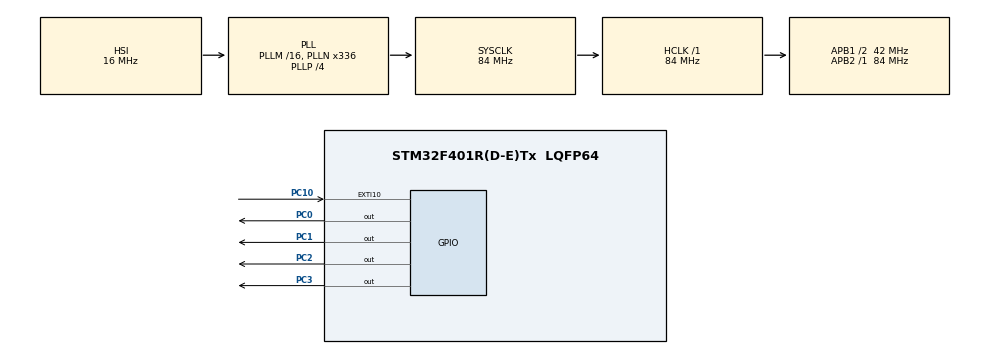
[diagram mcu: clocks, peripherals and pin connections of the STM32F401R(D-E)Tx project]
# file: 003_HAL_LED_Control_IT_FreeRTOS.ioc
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FREERTOS.Tasks01=Led,2,128,LedControlTask,Default,NULL,Dynamic,NULL,NULL
Mcu.Family=STM32F4
Mcu.Name=STM32F401R(D-E)Tx
Mcu.Package=LQFP64
NVIC.EXTI15_10_IRQn=true\:5\:0\:false\:false\:true\:true\:true\:true\:true
NVIC.PriorityGroup=NVIC_PRIORITYGROUP_4
PC0.GPIO_Speed=GPIO_SPEED_FREQ_HIGH
PC0.Signal=GPIO_Output
PC1.GPIO_Speed=GPIO_SPEED_FREQ_HIGH
PC1.Signal=GPIO_Output
PC10.GPIO_PuPd=GPIO_PULLDOWN
PC10.Signal=GPXTI10
PC2.GPIO_Speed=GPIO_SPEED_FREQ_HIGH
PC2.Signal=GPIO_Output
PC3.GPIO_Speed=GPIO_SPEED_FREQ_HIGH
PC3.Signal=GPIO_Output
ProjectManager.HeapSize=0x200
ProjectManager.StackSize=0x400
ProjectManager.TargetToolchain=STM32CubeIDE
RCC.AHBFreq_Value=84000000
RCC.APB1CLKDivider=RCC_HCLK_DIV2
RCC.APB1Freq_Value=42000000
RCC.APB1TimFreq_Value=84000000
RCC.APB2Freq_Value=84000000
RCC.APB2TimFreq_Value=84000000
RCC.CortexFreq_Value=84000000
RCC.HCLKFreq_Value=84000000
RCC.HSE_VALUE=8000000
RCC.HSI_VALUE=16000000
RCC.LSE_VALUE=32768
RCC.PLLN=336
RCC.PLLP=RCC_PLLP_DIV4
RCC.PLLQ=7
RCC.SYSCLKFreq_VALUE=84000000
RCC.SYSCLKSource=RCC_SYSCLKSOURCE_PLLCLK
RCC.VCOOutputFreq_Value=336000000
VP_FREERTOS_VS_CMSIS_V1.Mode=CMSIS_V1
board=NUCLEO-F401RE

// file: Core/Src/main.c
/* USER CODE BEGIN Header */
/**
  ******************************************************************************
  * @file           : main.c
  * @brief          : Main program body
  ******************************************************************************
  * @attention
  *
  * Copyright (c) 2023 STMicroelectronics.
  * All rights reserved.
  *
  * This software is licensed under terms that can be found in the LICENSE file
  * in the root directory of this software component.
  * If no LICENSE file comes with this software, it is provided AS-IS.
  *
  ******************************************************************************
  */
/* USER CODE END Header */
#include "main.h"

/* USER CODE BEGIN Includes */
#include "FreeRTOS.h"
#include "task.h"
/* USER CODE END Includes */

TaskHandle_t LedHandle;

void SystemClock_Config(void);
static void MX_GPIO_Init(void);
void LedControlTask(void *params);

/* USER CODE BEGIN 0 */
uint8_t count = 0;
/* USER CODE END 0 */

int main(void)
{

  /* MCU Configuration--------------------------------------------------------*/

  /* Reset of all peripherals, Initializes the Flash interface and the Systick. */
  HAL_Init();

  /* Configure the system clock */
  SystemClock_Config();

  /* Initialize all configured peripherals */
  MX_GPIO_Init();

  /* Create the thread(s) */
  /* definition and creation of Led */
  xTaskCreate(LedControlTask,"Led",configMINIMAL_STACK_SIZE,NULL,2,&LedHandle);

  /* Start scheduler */
  vTaskStartScheduler();
  /* We should never get here as control is now taken by the scheduler */
  /* Infinite loop */
  while (1)
  {

  }
}

void SystemClock_Config(void)
{
  RCC_OscInitTypeDef RCC_OscInitStruct = {0};
  RCC_ClkInitTypeDef RCC_ClkInitStruct = {0};

  /** Configure the main internal regulator output voltage
  */
  __HAL_RCC_PWR_CLK_ENABLE();
  __HAL_PWR_VOLTAGESCALING_CONFIG(PWR_REGULATOR_VOLTAGE_SCALE2);

  /** Initializes the RCC Oscillators according to the specified parameters
  * in the RCC_OscInitTypeDef structure.
  */
  RCC_OscInitStruct.OscillatorType = RCC_OSCILLATORTYPE_HSI;
  RCC_OscInitStruct.HSIState = RCC_HSI_ON;
  RCC_OscInitStruct.HSICalibrationValue = RCC_HSICALIBRATION_DEFAULT;
  RCC_OscInitStruct.PLL.PLLState = RCC_PLL_ON;
  RCC_OscInitStruct.PLL.PLLSource = RCC_PLLSOURCE_HSI;
  RCC_OscInitStruct.PLL.PLLM = 16;
  RCC_OscInitStruct.PLL.PLLN = 336;
  RCC_OscInitStruct.PLL.PLLP = RCC_PLLP_DIV4;
  RCC_OscInitStruct.PLL.PLLQ = 7;
  if (HAL_RCC_OscConfig(&RCC_OscInitStruct) != HAL_OK)
  {
    Error_Handler();
  }

  /** Initializes the CPU, AHB and APB buses clocks
  */
  RCC_ClkInitStruct.ClockType = RCC_CLOCKTYPE_HCLK|RCC_CLOCKTYPE_SYSCLK
                              |RCC_CLOCKTYPE_PCLK1|RCC_CLOCKTYPE_PCLK2;
  RCC_ClkInitStruct.SYSCLKSource = RCC_SYSCLKSOURCE_PLLCLK;
  RCC_ClkInitStruct.AHBCLKDivider = RCC_SYSCLK_DIV1;
  RCC_ClkInitStruct.APB1CLKDivider = RCC_HCLK_DIV2;
  RCC_ClkInitStruct.APB2CLKDivider = RCC_HCLK_DIV1;

  if (HAL_RCC_ClockConfig(&RCC_ClkInitStruct, FLASH_LATENCY_2) != HAL_OK)
  {
    Error_Handler();
  }
}

static void MX_GPIO_Init(void)
{
  GPIO_InitTypeDef GPIO_InitStruct = {0};

  /* GPIO Ports Clock Enable */
  __HAL_RCC_GPIOC_CLK_ENABLE();

  /*Configure GPIO pin Output Level */
  HAL_GPIO_WritePin(GPIOC, GPIO_PIN_0|GPIO_PIN_1|GPIO_PIN_2|GPIO_PIN_3, GPIO_PIN_RESET);

  /*Configure GPIO pins : PC0 PC1 PC2 PC3 */
  GPIO_InitStruct.Pin = GPIO_PIN_0|GPIO_PIN_1|GPIO_PIN_2|GPIO_PIN_3;
  GPIO_InitStruct.Mode = GPIO_MODE_OUTPUT_PP;
  GPIO_InitStruct.Pull = GPIO_NOPULL;
  GPIO_InitStruct.Speed = GPIO_SPEED_FREQ_HIGH;
  HAL_GPIO_Init(GPIOC, &GPIO_InitStruct);

  /*Configure GPIO pin : PC10 */
  GPIO_InitStruct.Pin = GPIO_PIN_10;
  GPIO_InitStruct.Mode = GPIO_MODE_IT_RISING;
  GPIO_InitStruct.Pull = GPIO_PULLDOWN;
  HAL_GPIO_Init(GPIOC, &GPIO_InitStruct);

  /* EXTI interrupt init*/
  HAL_NVIC_SetPriority(EXTI15_10_IRQn, 5, 0);
  HAL_NVIC_EnableIRQ(EXTI15_10_IRQn);

}

void LedControlTask(void *params)
{
  /* USER CODE BEGIN 5 */
  /* Infinite loop */
  for(;;)
  {
	    if(count == 0)
	    {
	    	 HAL_GPIO_WritePin(GPIOC,GPIO_PIN_0|GPIO_PIN_1|GPIO_PIN_2|GPIO_PIN_3,GPIO_PIN_RESET);
	    }
	    else if(count == 1)
	    {
	    	 HAL_GPIO_TogglePin(GPIOC,GPIO_PIN_0|GPIO_PIN_1|GPIO_PIN_2|GPIO_PIN_3);
	    	 vTaskDelay(1000);
	    }
	    else if(count == 2)
	    {
	    	HAL_GPIO_TogglePin(GPIOC,GPIO_PIN_0|GPIO_PIN_1|GPIO_PIN_2|GPIO_PIN_3);
	    	vTaskDelay(750);
	    }
	    else if(count == 3)
	    {
	    	 HAL_GPIO_TogglePin(GPIOC,GPIO_PIN_0|GPIO_PIN_1|GPIO_PIN_2|GPIO_PIN_3);
	    	 vTaskDelay(500);
	    }
	    else if(count == 4)
	    {
	    	 HAL_GPIO_TogglePin(GPIOC,GPIO_PIN_0|GPIO_PIN_1|GPIO_PIN_2|GPIO_PIN_3);
	    	 vTaskDelay(250);
	    }
  }
  /* USER CODE END 5 */
}

void Error_Handler(void)
{
  __disable_irq();
  while (1)
  {
  }
}

void HAL_GPIO_EXTI_Callback(uint16_t GPIO_Pin)
{
  if(HAL_GPIO_ReadPin(GPIOC, GPIO_PIN_10) == GPIO_PIN_SET)
  {
	  count++;
      if(count>4 )
      {
    	  count=0;

      }
  }

}
